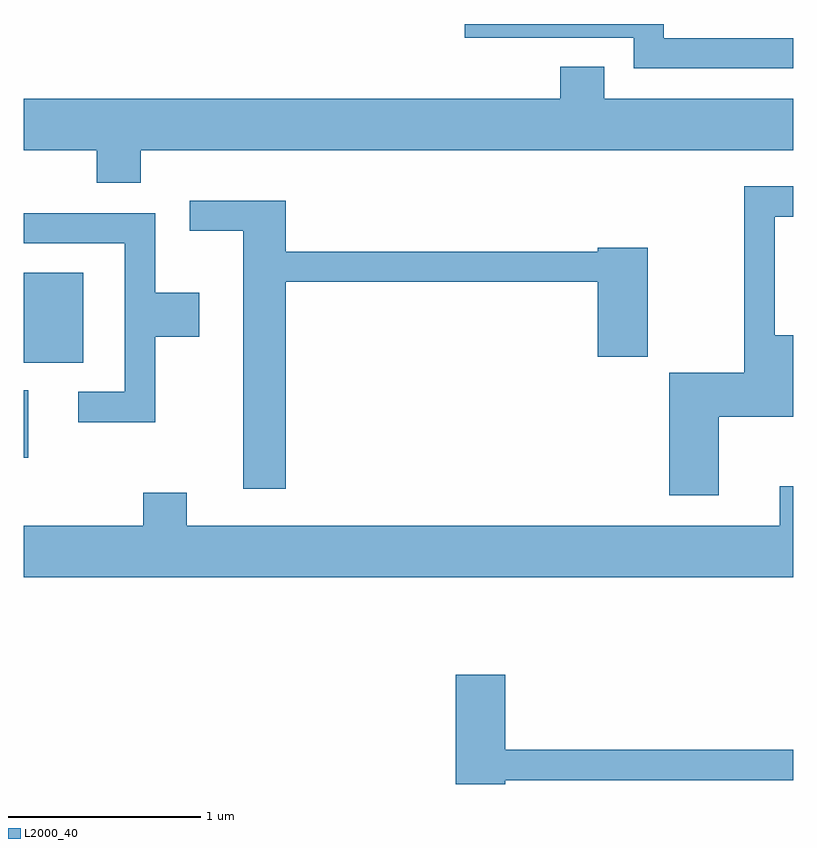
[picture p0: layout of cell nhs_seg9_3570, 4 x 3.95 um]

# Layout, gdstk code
import gdstk
lib = gdstk.Library(unit=1e-6, precision=1e-09)
def R(c, l, rs):  # rectangles x0, y0, x1, y1
    for r in rs: c.add(gdstk.rectangle(r[:2], r[2:], *l))
def P(c, l, *ps):  # polygons
    for p in ps: c.add(gdstk.Polygon(p, *l))
L2000_40 = (2000, 40)

nhs_seg9_3570 = lib.new_cell('nhs_seg9_3570')
R(nhs_seg9_3570, L2000_40, [(289.611,2030.176,289.634,2030.528), (289.611,2030.671,289.919,2031.139)])
P(nhs_seg9_3570, L2000_40, [(293.611,2032.359),(292.939,2032.359),(292.939,2032.432),(291.903,2032.432),(291.903,2032.361),(292.781,2032.361),(292.781,2032.201),(293.611,2032.201)],
  [(290.219,2031.776),(293.611,2031.776),(293.611,2032.044),(292.629,2032.044),(292.629,2032.209),(292.401,2032.209),(292.401,2032.044),(289.611,2032.044),(289.611,2031.776),(289.991,2031.776),(289.991,2031.606),(290.219,2031.606)],
  [(293.224,2030.391),(293.611,2030.391),(293.611,2030.814),(293.514,2030.814),(293.514,2031.431),(293.611,2031.431),(293.611,2031.589),(293.356,2031.589),(293.356,2030.619),(292.966,2030.619),(292.966,2029.981),(293.224,2029.981)],
  [(290.974,2031.091),(292.596,2031.091),(292.596,2030.701),(292.854,2030.701),(292.854,2031.269),(292.596,2031.269),(292.596,2031.249),(290.974,2031.249),(290.974,2031.514),(290.473,2031.514),(290.473,2031.356),(290.751,2031.356),(290.751,2030.016),(290.974,2030.016)],
  [(290.294,2030.806),(290.524,2030.806),(290.524,2031.034),(290.294,2031.034),(290.294,2031.449),(289.611,2031.449),(289.611,2031.291),(290.136,2031.291),(290.136,2030.519),(289.893,2030.519),(289.893,2030.361),(290.294,2030.361)],
  [(293.611,2030.029),(293.541,2030.029),(293.541,2029.824),(290.459,2029.824),(290.459,2029.994),(290.231,2029.994),(290.231,2029.824),(289.611,2029.824),(289.611,2029.556),(293.611,2029.556)],
  [(292.114,2028.501),(293.611,2028.501),(293.611,2028.659),(292.114,2028.659),(292.114,2029.049),(291.856,2029.049),(291.856,2028.481),(292.114,2028.481)])

lib.write_gds('nhs_seg9_3570.gds')
